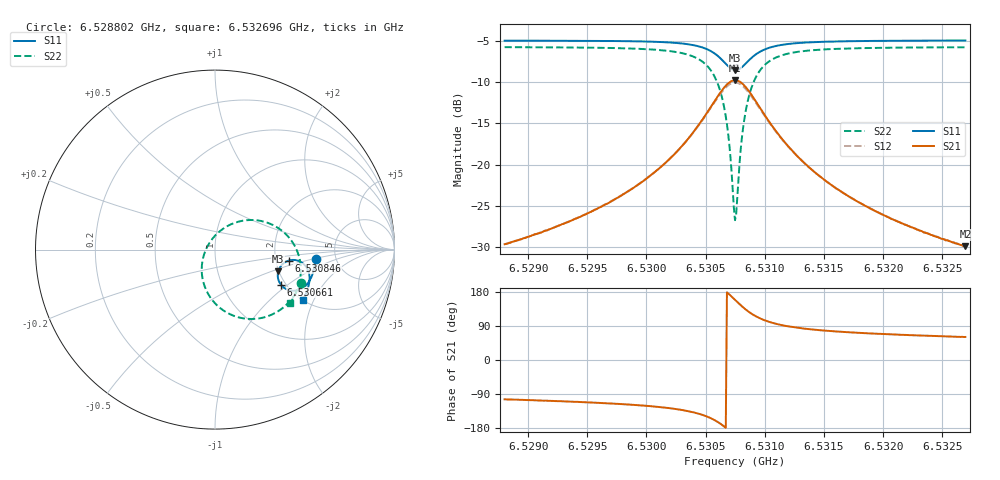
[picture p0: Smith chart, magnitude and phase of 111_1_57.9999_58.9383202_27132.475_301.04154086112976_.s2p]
#  HZ  S  RI  R  50.00
! Rohde & Schwarz Vector Network Analyzer
! Rohde-Schwarz,ZNB20-2Port,1311601062101988,3.16
! Created: UTC 3/21/2024, 12:55:12 AM
! freq[Hz]  re:S11  im:S11  re:S21  im:S21  re:S12  im:S12  re:S22  im:S22
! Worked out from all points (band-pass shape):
!   401 points, 6.528802 GHz to 6.532696 GHz, reference 50 ohm
!   highest |S21| = -9.79 dB at 6.530749 GHz (marker M1); lowest = -29.9 dB at 6.532696 GHz (marker M2)
!   |S21| within 3 dB of the highest: 6.530555 GHz to 6.530945 GHz (390.1 kHz wide, 0.00597 % of centre)
!   lowest |S11| = -8.6 dB at 6.530749 GHz (marker M3), VSWR 2.19, Z = 99.3 - j27.8 ohm
!   |S11| at or under -10 dB: nowhere
!   |S22| runs from -26.7 to -5.8 dB; largest |S21 - S12| = 0.013
!   S11 on the Smith chart (normalised r, x): 6.528802 GHz: 3.48, -0.55; 6.530661 GHz: 1.89, -0.89; 6.530846 GHz: 2.35, -0.35; 6.532696 GHz: 1.99, -1.66
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6.5288018e9  0.5606 -0.0544  -0.0078 -0.032  -0.00844 -0.0318  0.4807 -0.1837
6.5294541e9  0.5513 -0.11  -0.0177 -0.0455  -0.0187 -0.0452  0.4483 -0.246
6.5297754e9  0.5422 -0.1408  -0.0283 -0.0576  -0.0297 -0.057  0.4196 -0.2847
6.5301064e9  0.5239 -0.1778  -0.0528 -0.0784  -0.0551 -0.0769  0.3633 -0.3358
6.5303303e9  0.4967 -0.2083  -0.0945 -0.0992  -0.0976 -0.0959  0.2787 -0.3761
6.5304958e9  0.4513 -0.2284  -0.1664 -0.1068  -0.1689 -0.0996  0.1462 -0.381
6.5305932e9  0.4042 -0.2233  -0.24 -0.0796  -0.2392 -0.0691  0.023 -0.321
6.5306613e9  0.3668 -0.1947  -0.2946 -0.0184  -0.2882 -0.0074  -0.0568 -0.2069
6.5306905e9  0.355 -0.1734  -0.3095 0.0222  -0.3003 0.0318  -0.073 -0.1368
6.5307295e9  0.3497 -0.1388  -0.3112 0.0852  -0.2993 0.0912  -0.0631 -0.0333
6.5307489e9  0.3525 -0.1207  -0.3023 0.1168  -0.2903 0.1208  -0.0428 0.017
6.5307587e9  0.3555 -0.112  -0.2958 0.1321  -0.2837 0.135  -0.029 0.0404
6.5307684e9  0.3592 -0.1038  -0.2877 0.1464  -0.2758 0.1481  -0.0132 0.0623
6.5308074e9  0.3814 -0.0764  -0.2445 0.1926  -0.2342 0.1908  0.0664 0.1296
6.5308463e9  0.4097 -0.0615  -0.1932 0.2176  -0.1856 0.214  0.1556 0.1611
6.5309145e9  0.4554 -0.0598  -0.1136 0.2206  -0.1097 0.217  0.2893 0.1506
6.5310118e9  0.4958 -0.0815  -0.0448 0.1885  -0.043 0.1866  0.4005 0.0802
6.5311578e9  0.5198 -0.118  -0.00296 0.1397  -0.0016 0.1389  0.4618 -0.0192
6.5314012e9  0.5269 -0.1621  0.0152 0.0916  0.0163 0.0912  0.4782 -0.1204
6.531703e9  0.5222 -0.1994  0.0184 0.0619  0.0195 0.0617  0.4682 -0.1895
6.5320535e9  0.5118 -0.233  0.0179 0.0441  0.0187 0.0439  0.451 -0.2392
6.5326961e9  0.4889 -0.2832  0.0156 0.028  0.0163 0.0276  0.4177 -0.2993
